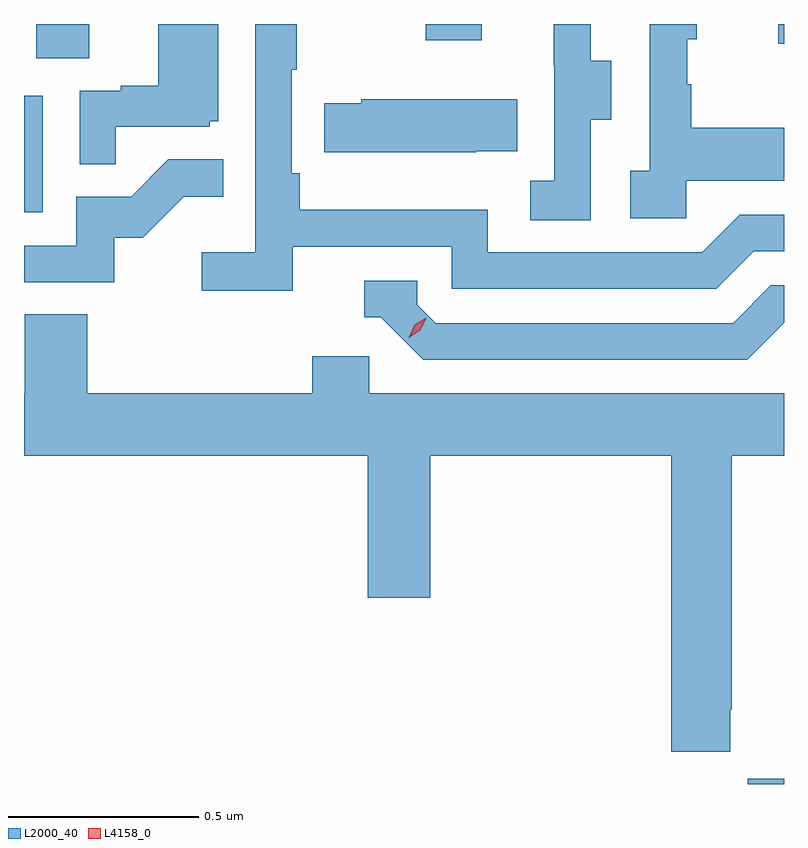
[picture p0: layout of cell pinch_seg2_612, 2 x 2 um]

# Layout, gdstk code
import gdstk
lib = gdstk.Library(unit=1e-6, precision=1e-09)
def R(c, l, rs):  # rectangles x0, y0, x1, y1
    for r in rs: c.add(gdstk.rectangle(r[:2], r[2:], *l))
def P(c, l, *ps):  # polygons
    for p in ps: c.add(gdstk.Polygon(p, *l))
L2000_40 = (2000, 40)
L4158_0 = (4158, 0)

pinch_seg2_612 = lib.new_cell('pinch_seg2_612')
R(pinch_seg2_612, L2000_40, [(1065.107,614.804,1065.203,614.818), (1063.203,616.308,1063.252,616.615), (1063.235,616.714,1063.375,616.804), (1065.188,616.752,1065.203,616.804), (1064.26,616.761,1064.407,616.804)])
P(pinch_seg2_612, L2000_40, [(1064.694,616.552),(1064.749,616.552),(1064.749,616.707),(1064.695,616.707),(1064.695,616.804),(1064.597,616.804),(1064.597,616.695),(1064.598,616.695),(1064.598,616.391),(1064.535,616.391),(1064.535,616.288),(1064.694,616.288)],
  [(1063.445,616.533),(1063.692,616.533),(1063.692,616.548),(1063.714,616.548),(1063.714,616.804),(1063.556,616.804),(1063.556,616.642),(1063.457,616.642),(1063.457,616.629),(1063.35,616.629),(1063.35,616.435),(1063.445,616.435)],
  [(1064.946,616.391),(1065.203,616.391),(1065.203,616.531),(1064.959,616.531),(1064.959,616.646),(1064.949,616.646),(1064.949,616.764),(1064.974,616.764),(1064.974,616.804),(1064.85,616.804),(1064.85,616.418),(1064.799,616.418),(1064.799,616.293),(1064.946,616.293)],
  [(1063.91,616.218),(1064.328,616.218),(1064.328,616.107),(1065.025,616.107),(1065.124,616.206),(1065.203,616.206),(1065.203,616.302),(1065.087,616.302),(1064.988,616.203),(1064.424,616.203),(1064.424,616.315),(1063.928,616.315),(1063.928,616.411),(1063.908,616.411),(1063.908,616.684),(1063.921,616.684),(1063.921,616.804),(1063.812,616.804),(1063.812,616.204),(1063.671,616.204),(1063.671,616.102),(1063.91,616.102)],
  [(1064.393,616.469),(1064.501,616.469),(1064.501,616.606),(1064.091,616.606),(1064.091,616.596),(1063.993,616.596),(1063.993,616.466),(1064.393,616.466)],
  [(1063.44,616.242),(1063.516,616.242),(1063.623,616.349),(1063.727,616.349),(1063.727,616.448),(1063.583,616.448),(1063.485,616.35),(1063.341,616.35),(1063.341,616.221),(1063.203,616.221),(1063.203,616.125),(1063.44,616.125)],
  [(1065.203,616.018),(1065.203,616.116),(1065.168,616.116),(1065.069,616.017),(1064.286,616.017),(1064.238,616.065),(1064.238,616.128),(1064.099,616.128),(1064.099,616.032),(1064.142,616.032),(1064.253,615.921),(1065.106,615.921)],
  [(1065.061,615.001),(1065.066,615.001),(1065.066,615.668),(1065.203,615.668),(1065.203,615.832),(1064.112,615.832),(1064.112,615.93),(1063.961,615.93),(1063.961,615.832),(1063.37,615.832),(1063.37,616.04),(1063.205,616.04),(1063.205,615.832),(1063.203,615.832),(1063.203,615.668),(1064.108,615.668),(1064.108,615.294),(1064.272,615.294),(1064.272,615.668),(1064.906,615.668),(1064.906,614.889),(1065.061,614.889)])
P(pinch_seg2_612, L4158_0, [(1064.215,615.979),(1064.215,615.979),(1064.231,616.012),(1064.261,616.031),(1064.262,616.031),(1064.262,616.03),(1064.246,615.998),(1064.215,615.979)])

lib.write_gds('pinch_seg2_612.gds')
